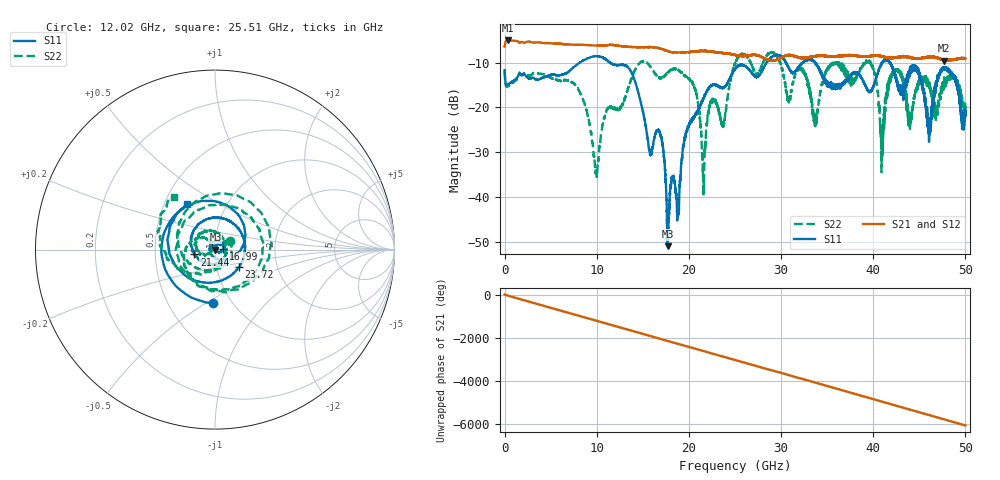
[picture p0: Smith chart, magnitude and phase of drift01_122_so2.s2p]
!Created with skrf (http://scikit-rf.org).
# Hz S RI R 50.0
!freq ReS11 ImS11 ReS21 ImS21 ReS12 ImS12 ReS22 ImS22
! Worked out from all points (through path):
!   10001 points, 300 kHz to 50 GHz, reference 50 ohm
!   highest |S21| = -5.05 dB at 360.3 MHz (marker M1); lowest = -9.6 dB at 47.67 GHz (marker M2)
!   group delay of S21, straight-line fit = 336 ps
!   lowest |S11| = -51.0 dB at 17.69 GHz (marker M3), VSWR 1.01, Z = 50.3 - j0.125 ohm
!   |S11| at or under -10 dB: start of sweep to 8.163 GHz; 11.43 GHz to 28.42 GHz (16.99 GHz wide, 85.3 % of centre); 41.82 GHz to end of sweep (the widest 3 of 13)
!   |S22| runs from -40.0 to -7.7 dB; largest |S21 - S12| = 0.016
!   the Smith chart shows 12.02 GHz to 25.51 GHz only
!   S11 on the Smith chart (normalised r, x): 12.02 GHz: 0.82, -0.54; 16.99 GHz: 1.10, +0.00; 21.44 GHz: 0.79, -0.04; 23.72 GHz: 1.28, -0.26; 25.51 GHz: 0.65, +0.36
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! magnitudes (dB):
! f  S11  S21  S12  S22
! 300 kHz  -11.7  -6.4  -6.5  -11.8
! 360.3 MHz  -14.9  -5.1  -5.1  -15.3
! 8.335 GHz  -9.8  -6.0  -6.0  -17.5
! 9.95 GHz  -8.5  -6.2  -6.2  -34.7
! 12.02 GHz  -10.5  -6.1  -6.1  -20.4
! 16.67 GHz  -25.0  -6.7  -6.7  -13.3
! 16.99 GHz  -26.6  -6.9  -6.9  -13.5
! 17.69 GHz  -51.0  -7.4  -7.4  -12.3
! 20.47 GHz  -22.4  -7.5  -7.5  -15.0
! 21.44 GHz  -18.6  -7.4  -7.4  -30.5
! 22.47 GHz  -15.1  -7.5  -7.6  -19.1
! 23.72 GHz  -15.6  -7.9  -7.9  -24.1
! 25 GHz  -11.4  -8.3  -8.3  -10.3
! 25.51 GHz  -10.5  -8.5  -8.5  -8.6
! 33.34 GHz  -9.4  -8.7  -8.7  -19.0
! 39.49 GHz  -16.4  -8.6  -8.5  -9.9
! 40.95 GHz  -10.1  -8.6  -8.6  -29.2
! 41.67 GHz  -9.6  -8.8  -8.9  -14.6
! 44.77 GHz  -11.5  -9.1  -9.0  -14.8
! 46.11 GHz  -24.1  -8.7  -8.8  -15.1
! 47.67 GHz  -11.3  -9.6  -9.4  -14.4
! 50 GHz  -21.9  -9.1  -9.1  -20.5
